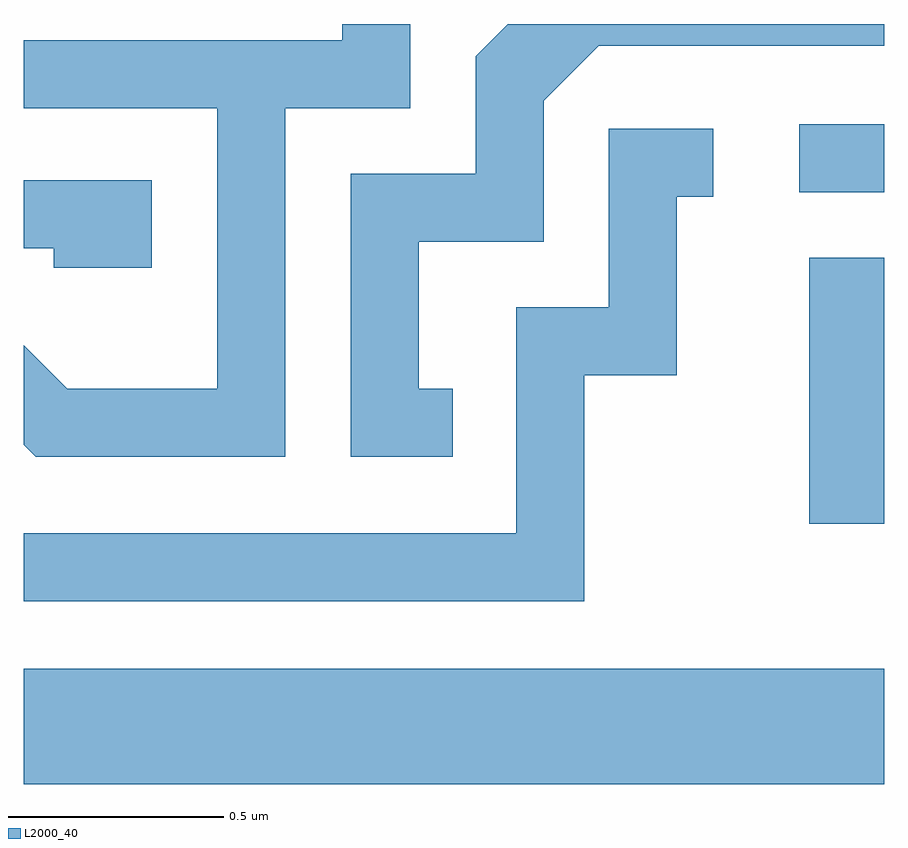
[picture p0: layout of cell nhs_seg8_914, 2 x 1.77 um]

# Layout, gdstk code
import gdstk
lib = gdstk.Library(unit=1e-6, precision=1e-09)
def R(c, l, rs):  # rectangles x0, y0, x1, y1
    for r in rs: c.add(gdstk.rectangle(r[:2], r[2:], *l))
def P(c, l, *ps):  # polygons
    for p in ps: c.add(gdstk.Polygon(p, *l))
L2000_40 = (2000, 40)

nhs_seg8_914 = lib.new_cell('nhs_seg8_914')
R(nhs_seg8_914, L2000_40, [(191.611,1898.576,193.611,1898.844), (193.436,1899.181,193.611,1899.799), (193.413,1899.951,193.611,1900.109)])
P(nhs_seg8_914, L2000_40, [(192.219,1900.146),(192.509,1900.146),(192.509,1900.342),(192.351,1900.342),(192.351,1900.304),(191.611,1900.304),(191.611,1900.146),(192.061,1900.146),(192.061,1899.494),(191.712,1899.494),(191.611,1899.595),(191.611,1899.364),(191.639,1899.336),(192.219,1899.336)],
  [(192.608,1899.494),(192.529,1899.494),(192.529,1899.836),(192.819,1899.836),(192.819,1900.164),(192.947,1900.291),(193.611,1900.291),(193.611,1900.342),(192.736,1900.342),(192.661,1900.267),(192.661,1899.994),(192.371,1899.994),(192.371,1899.336),(192.608,1899.336)],
  [(192.914,1899.526),(193.129,1899.526),(193.129,1899.941),(193.213,1899.941),(193.213,1900.099),(192.971,1900.099),(192.971,1899.684),(192.756,1899.684),(192.756,1899.159),(191.611,1899.159),(191.611,1899.001),(192.914,1899.001)],
  [(191.909,1899.979),(191.611,1899.979),(191.611,1899.821),(191.681,1899.821),(191.681,1899.776),(191.909,1899.776)])

lib.write_gds('nhs_seg8_914.gds')
